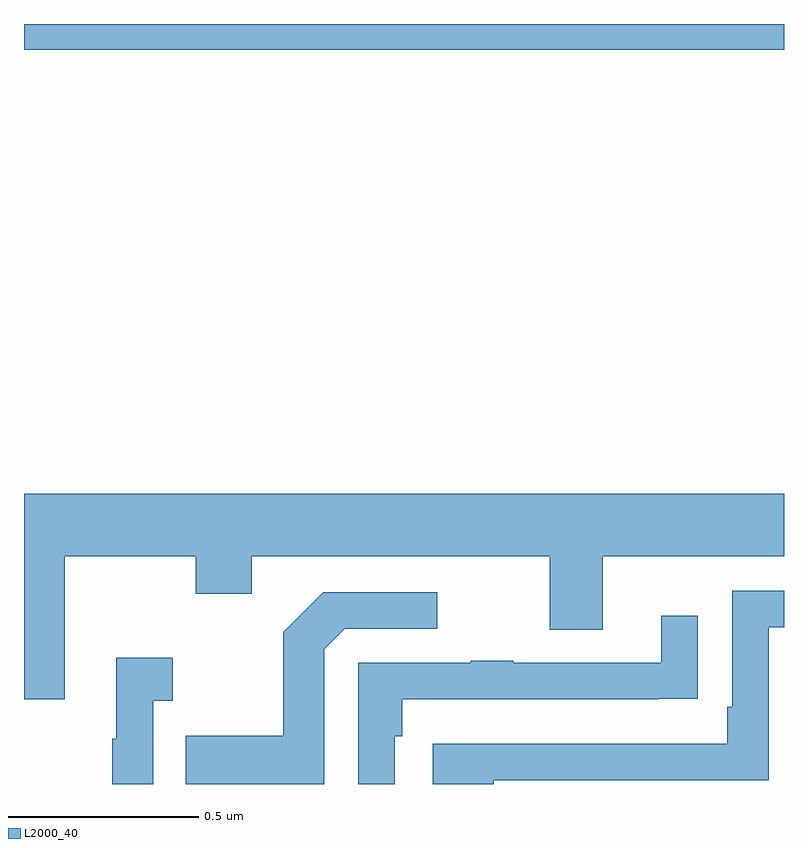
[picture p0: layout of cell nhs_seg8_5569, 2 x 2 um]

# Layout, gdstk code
import gdstk
lib = gdstk.Library(unit=1e-6, precision=1e-09)
def R(c, l, rs):  # rectangles x0, y0, x1, y1
    for r in rs: c.add(gdstk.rectangle(r[:2], r[2:], *l))
def P(c, l, *ps):  # polygons
    for p in ps: c.add(gdstk.Polygon(p, *l))
L2000_40 = (2000, 40)

nhs_seg8_5569 = lib.new_cell('nhs_seg8_5569')
R(nhs_seg8_5569, L2000_40, [(185,1117.832,187,1117.9)])
P(nhs_seg8_5569, L2000_40, [(185.107,1116.5),(185.452,1116.5),(185.452,1116.401),(185.599,1116.401),(185.599,1116.5),(186.383,1116.5),(186.383,1116.306),(186.523,1116.306),(186.523,1116.5),(187,1116.5),(187,1116.664),(185,1116.664),(185,1116.123),(185.107,1116.123)],
  [(186.236,1115.91),(186.96,1115.91),(186.96,1116.312),(187,1116.312),(187,1116.408),(186.864,1116.408),(186.864,1116.103),(186.851,1116.103),(186.851,1116.006),(186.075,1116.006),(186.075,1115.9),(186.236,1115.9)],
  [(185.79,1116.255),(185.844,1116.309),(186.088,1116.309),(186.088,1116.405),(185.787,1116.405),(185.682,1116.299),(185.682,1116.027),(185.425,1116.027),(185.425,1115.9),(185.79,1115.9)],
  [(185.976,1116.026),(185.996,1116.026),(185.996,1116.123),(186.671,1116.123),(186.671,1116.124),(186.773,1116.124),(186.773,1116.343),(186.677,1116.343),(186.677,1116.219),(186.287,1116.219),(186.287,1116.224),(186.175,1116.224),(186.175,1116.219),(185.88,1116.219),(185.88,1115.9),(185.976,1115.9)],
  [(185.34,1116.119),(185.392,1116.119),(185.392,1116.232),(185.243,1116.232),(185.243,1116.019),(185.232,1116.019),(185.232,1115.9),(185.34,1115.9)])

lib.write_gds('nhs_seg8_5569.gds')
